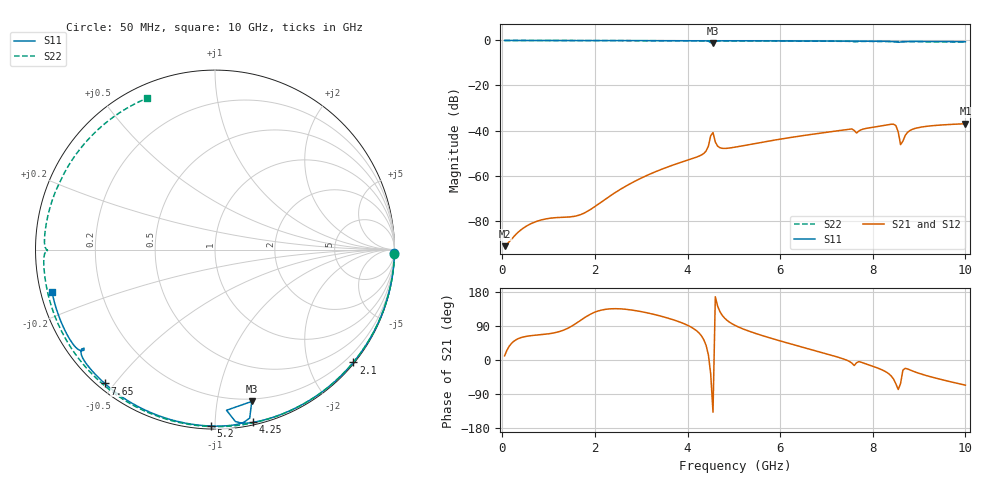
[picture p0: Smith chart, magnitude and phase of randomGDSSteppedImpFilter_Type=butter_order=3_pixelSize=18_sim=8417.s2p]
! freq	dB(S11)	phase(S11)	dB(S12)	phase(S12)
!  dB(S21)	phase(S21)	dB(S22)	phase(S22)
!S-par simulation data
#  GHz  S  DB  R 50
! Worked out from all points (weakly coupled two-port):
!   200 points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, 50 MHz to 10 GHz, reference 50 ohm
!   highest |S21| = -36.99 dB at 10 GHz (marker M1); lowest = -91.3 dB at 50 MHz (marker M2)
!   lowest |S11| = -1.2 dB at 4.55 GHz (marker M3), VSWR 14.44, Z = 8.99 - j62.8 ohm
!   |S11| at or under -10 dB: nowhere
!   |S22| runs from -0.7 to 0.0 dB; largest |S21 - S12| = 0
!   S11 on the Smith chart (normalised r, x): 50 MHz: open; 2.1 GHz: 0.03, -2.81; 4.25 GHz: 0.02, -1.25; 5.2 GHz: 0.02, -0.98; 7.65 GHz: 0.02, -0.47; 10 GHz: 0.03, -0.13
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0.05  -0.00 -1.0  -91.35 11.0  -91.35 11.0  -0.00 -1.3
1.75  -0.04 -32.8  -76.82 109.6  -76.82 109.6  -0.06 -44.7
2.1  -0.05 -39.2  -72.30 130.4  -72.30 130.4  -0.07 -53.3
3.4  -0.08 -62.3  -57.53 116.5  -57.53 116.5  -0.11 -84.2
4.25  -0.12 -77.5  -51.34 71.1  -51.34 71.1  -0.14 -103.6
4.4  -0.19 -81.2  -49.13 38.9  -49.13 38.9  -0.15 -106.9
4.5  -0.94 -85.9  -42.30 -36.0  -42.30 -36.0  -0.16 -109.2
4.55  -1.20 -76.4  -40.89 -137.9  -40.89 -137.9  -0.17 -110.2
4.6  -0.37 -78.4  -45.10 167.0  -45.10 167.0  -0.16 -111.3
4.7  -0.17 -82.0  -47.65 127.5  -47.65 127.5  -0.17 -113.6
5.05  -0.14 -88.8  -47.30 89.9  -47.30 89.9  -0.19 -121.3
5.2  -0.15 -91.3  -46.74 81.9  -46.74 81.9  -0.19 -124.6
6.7  -0.22 -115.0  -41.64 26.4  -41.64 26.4  -0.30 -158.1
7.55  -0.29 -128.0  -39.29 -8.4  -39.29 -8.4  -0.45 -178.7
7.65  -0.30 -129.5  -41.10 -7.4  -41.10 -7.4  -0.59 -179.6
8.35  -0.42 -140.8  -37.36 -36.7  -37.36 -36.7  -0.47 162.1
8.5  -0.66 -143.3  -37.83 -63.3  -37.83 -63.3  -0.50 158.1
8.55  -0.79 -143.0  -40.67 -77.9  -40.67 -77.9  -0.51 156.8
8.6  -0.72 -142.5  -46.26 -62.2  -46.26 -62.2  -0.52 155.5
8.75  -0.47 -144.8  -40.83 -23.5  -40.83 -23.5  -0.52 151.4
8.9  -0.44 -147.5  -39.14 -31.0  -39.14 -31.0  -0.54 147.3
10  -0.55 -165.4  -36.99 -66.4  -36.99 -66.4  -0.68 114.1
